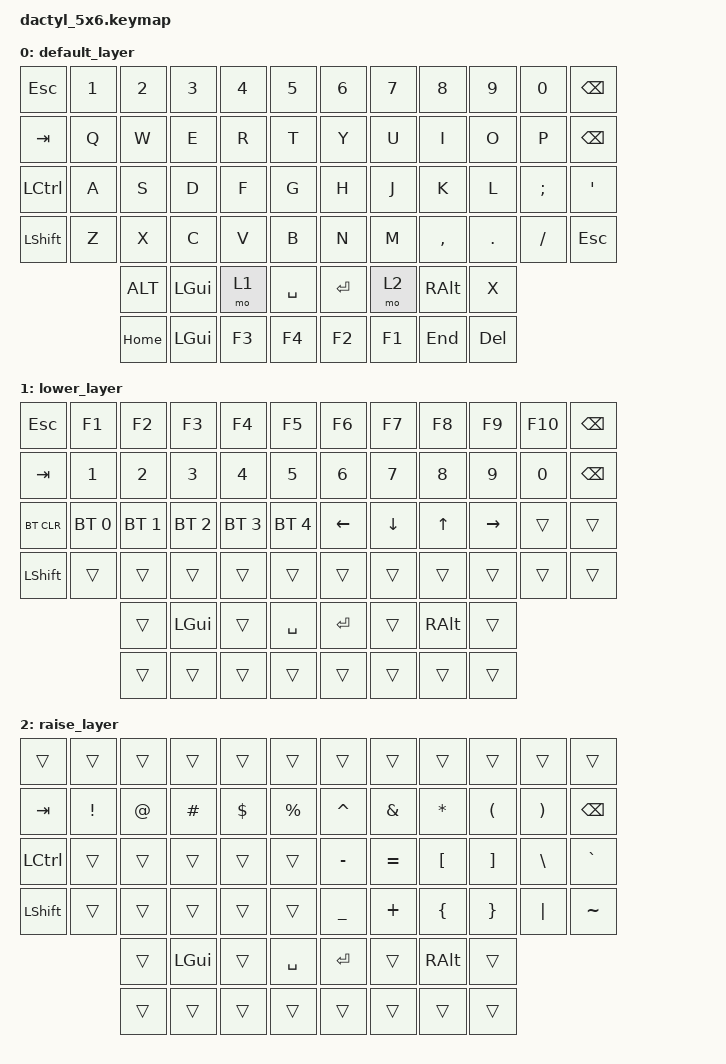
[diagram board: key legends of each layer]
#include <behaviors.dtsi>
#include <dt-bindings/zmk/keys.h>
#include <dt-bindings/zmk/bt.h>

/ {
        keymap {
                compatible = "zmk,keymap";

                default_layer {
// -----------------------------------------------------------------------------------------
// |  ESC |  1  |  2  |  3  |  4  |  5  |   |  6  |  7   |  8  |  9  |  0  | BSPC |
// |  TAB |  Q  |  W  |  E  |  R  |  T  |   |  Y  |  U   |  I  |  O  |  P  |  -   |
// | SHFT |  A  |  S  |  D  |  F  |  G  |   |  H  |  J   |  K  |  L  |  ;  |  '   |
// | CTRL |  Z  |  X  |  C  |  V  |  B  |   |  N  |  M   |  ,  |  .  |  /  | ESC  |
//              | ALT | GUI | LWR | SPC |   | ENT | RSE  | ALT |  X  |
//              |HOME | GUI | F3  | F4  |   | F2  | F1   | END | DEL |

                        bindings = <
   &kp ESC   &kp N1   &kp N2 &kp N3 &kp N4 &kp N5   &kp N6 &kp N7  &kp N8     &kp N9   &kp N0    &kp BSPC         
   &kp TAB   &kp Q    &kp W &kp E &kp R &kp T   &kp Y &kp U  &kp I     &kp O   &kp P    &kp BSPC
   &kp LCTRL &kp A    &kp S &kp D &kp F &kp G   &kp H &kp J  &kp K     &kp L   &kp SEMI &kp SQT
   &kp LSHFT &kp Z    &kp X &kp C &kp V &kp B   &kp N &kp M  &kp COMMA &kp DOT &kp FSLH &kp ESC
             &kp ALT  &kp LGUI &mo 1 &kp SPACE  &kp RET &mo 2 &kp RALT &kp X
             &kp HOME &kp LGUI &kp F3 &kp F4    &kp F2  &kp F1 &kp END &kp DEL
                        >;
                };
                lower_layer {
// -----------------------------------------------------------------------------------------
// |  ESC |  F1 |  F2 |  F3 |  F4 |  F5 |   |  F6 |  F7 |  F8 |  F9 |  F10| BSPC |
// |  TAB |  1  |  2  |  3  |  4  |  5  |   |  6  |  7  |  8  |  9  |  0  | BSPC |
// | BTCLR| BT1 | BT2 | BT3 | BT4 | BT5 |   | LFT | DWN |  UP | RGT |     |      |
// | SHFT |     |     |     |     |     |   |     |     |     |     |     |      |
//              |     | GUI |     | SPC |   | ENT |     | ALT |     |
//              |     |     |     |     |   |     |     |     |     |
                        bindings = <
   &kp ESC    &kp F1       &kp F2       &kp F3       &kp F4       &kp F5         &kp F6   &kp F7   &kp F8 &kp F9    &kp F10 &kp BSPC
   &kp TAB    &kp N1       &kp N2       &kp N3       &kp N4       &kp N5         &kp N6   &kp N7   &kp N8 &kp N9    &kp N0 &kp BSPC
   &bt BT_CLR &bt BT_SEL 0 &bt BT_SEL 1 &bt BT_SEL 2 &bt BT_SEL 3 &bt BT_SEL 4   &kp LEFT &kp DOWN &kp UP &kp RIGHT &trans &trans
   &kp LSHFT  &trans       &trans       &trans       &trans       &trans         &trans   &trans   &trans &trans    &trans &trans
                           &trans       &kp LGUI     &trans       &kp SPACE      &kp RET  &trans   &kp RALT &trans
                           &trans       &trans       &trans       &trans         &trans   &trans   &trans   &trans
                        >;
                };

                raise_layer {
// -----------------------------------------------------------------------------------------
// |      |     |     |     |     |     |   |     |     |     |     |     |      |
// |  TAB |  !  |  @  |  #  |  $  |  %  |   |  ^  |  &  |  *  |  (  |  )  | BSPC |
// | CTRL |     |     |     |     |     |   |  -  |  =  |  [  |  ]  |  \  |  `   |
// | SHFT |     |     |     |     |     |   |  _  |  +  |  {  |  }  | "|" |  ~   |
//              |     | GUI |     | SPC |   | ENT |     | ALT |     |
//              |     |     |     |     |   |     |     |     |     |
                        bindings = <
   &trans    &trans   &trans &trans   &trans   &trans      &trans    &trans    &trans    &trans   &trans   &trans
   &kp  TAB  &kp EXCL &kp AT &kp HASH &kp DLLR &kp PRCNT   &kp CARET &kp AMPS  &kp ASTRK &kp LPAR &kp RPAR &kp BSPC
   &kp LCTRL &trans   &trans &trans   &trans   &trans      &kp MINUS &kp EQUAL &kp LBKT  &kp RBKT &kp BSLH &kp GRAVE
   &kp LSHFT &trans   &trans &trans   &trans   &trans      &kp UNDER &kp PLUS  &kp LBRC  &kp RBRC &kp PIPE &kp TILDE
                      &trans &kp LGUI &trans   &kp SPACE   &kp RET   &trans    &kp RALT &trans
                      &trans &trans   &trans   &trans      &trans    &trans    &trans   &trans 
                        >;
                };
        };
};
